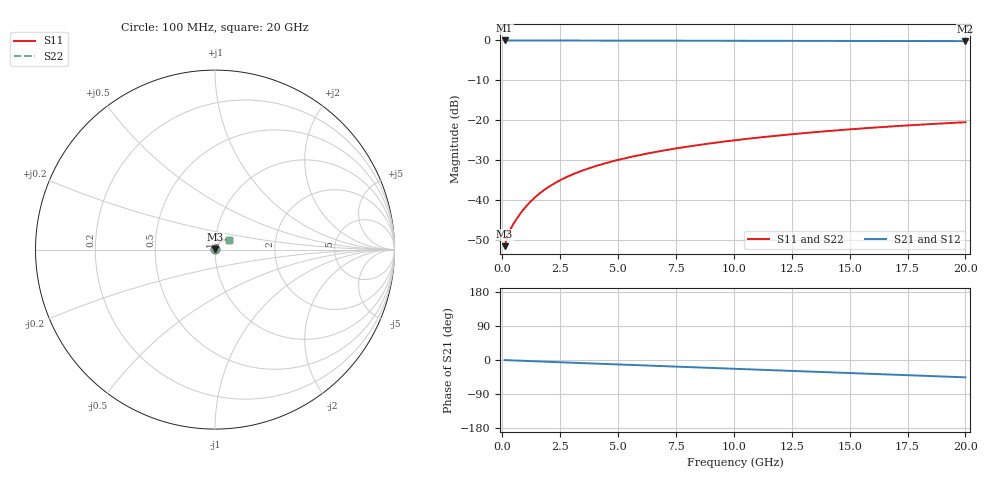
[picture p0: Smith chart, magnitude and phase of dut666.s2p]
! Touchstone file exported from HFSS 2026.1.0
!  File:  C:/ffzhzh/LocalFiles/Ansys_Project_Files/temp_train_BSMRDL_666_1783017244_55676.aedt
!  Generated:  02:35:21 AM Jul  3, 2026
!  Design:  BSMRDL
!  Project:  temp_train_BSMRDL_666_1783017244_55676
! Variables:
!  h_bsmrdl = 5.33um
!  h_ox = 20um
!  h_rdl = 5um
!  h_sub = 80um
!  h_tmrdl = 5um
!  h_tsv = 80um
!  h_via = 3um
!  l_bsmrdl = 810.53um
!  l_sub = 1210.53um
!  l_tmrdl = 200um
!  m_sub = 200um
!  pitch = 34.49um
!  r_tsv = 6um
!  s_tmrdl = 10um
!  w_bsmrdl = 26.35um
!  w_sub = 500um
!  w_tmrdl = 12um
!  x_tsv_center1 = 206um
!  x_tsv_center2 = 1042.88um
!  x_tsv_center3 = 1254.88um
!  x_tsv_center4 = 2091.76um
!  x_tsv_center5 = 2303.76um
!  x_tsv_center6 = 3140.64um
# GHz S MA R 50.000000
! Terminal data exported
! Port[1] = BSM_RDL1_1_T1
! Port[2] = BSM_RDL1_1_T2
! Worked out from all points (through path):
!   200 points, 100 MHz to 20 GHz, reference 50 ohm
!   highest |S21| = -0.02 dB at 100 MHz (marker M1); lowest = -0.2 dB at 20 GHz (marker M2)
!   group delay of S21, straight-line fit = 6.33 ps
!   lowest |S11| = -51.5 dB at 100 MHz (marker M3), VSWR 1.01, Z = 50.2 + j0.12 ohm
!   |S11| at or under -10 dB: start of sweep to end of sweep
!   |S22| runs from -51.5 to -20.5 dB; largest |S21 - S12| = 3.5e-15
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0.1  0.002666 26.5  0.9976 -0.3  0.9976 -0.3  0.002666 26.5
! Gamma 0 0 0 0
! Port Impedance 50 0 50 0
0.2  0.003427 36.1  0.9972 -0.5  0.9972 -0.5  0.003427 36.1
0.3  0.004048 41.3  0.997 -0.8  0.997 -0.8  0.004048 41.3
0.5  0.005168 49.5  0.9967 -1.2  0.9967 -1.2  0.005168 49.5
0.7  0.006338 55.5  0.9965 -1.7  0.9965 -1.7  0.006338 55.5
0.9  0.007573 59.5  0.9964 -2.2  0.9964 -2.2  0.007573 59.5
1.1  0.00885 62.2  0.9962 -2.7  0.9962 -2.7  0.008849 62.3
1.3  0.01015 64.1  0.996 -3.1  0.996 -3.1  0.01015 64.1
1.7  0.01275 66.1  0.9956 -4.1  0.9956 -4.1  0.01275 66.1
2.2  0.01594 66.8  0.995 -5.3  0.995 -5.3  0.01594 66.9
2.8  0.01964 66.7  0.9942 -6.7  0.9942 -6.7  0.01964 66.7
3.5  0.02376 65.9  0.9932 -8.3  0.9932 -8.3  0.02376 65.9
4.2  0.02768 64.8  0.9923 -9.9  0.9923 -9.9  0.02768 64.9
5  0.03197 63.5  0.9914 -11.7  0.9914 -11.7  0.03197 63.6
5.9  0.03661 62.0  0.9903 -13.8  0.9903 -13.8  0.03661 62.0
6.8  0.0411 60.4  0.9894 -15.9  0.9894 -15.9  0.04109 60.5
8.3  0.04831 57.8  0.9879 -19.3  0.9879 -19.3  0.0483 57.8
10.1  0.05658 54.5  0.9863 -23.4  0.9863 -23.4  0.05658 54.6
11.7  0.06361 51.5  0.985 -27.0  0.985 -27.0  0.0636 51.6
13.4  0.07073 48.2  0.9836 -30.8  0.9836 -30.8  0.07073 48.3
16.7  0.08349 41.6  0.9811 -38.3  0.9811 -38.3  0.08349 41.7
20  0.09467 34.9  0.9788 -45.7  0.9788 -45.7  0.09467 35.0
